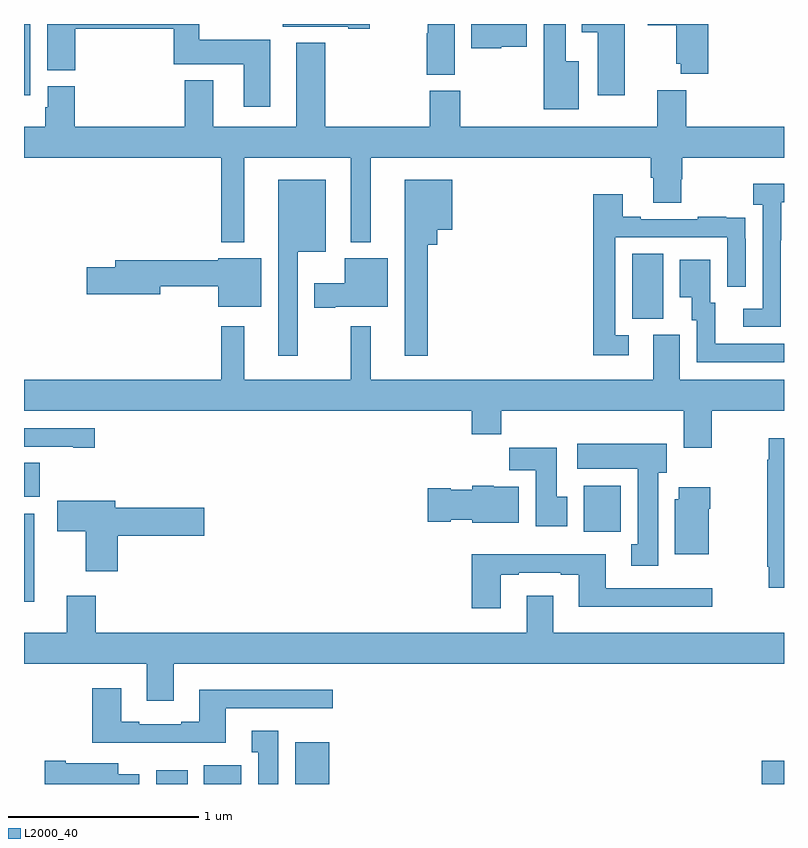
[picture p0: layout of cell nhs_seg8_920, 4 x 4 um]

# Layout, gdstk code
import gdstk
lib = gdstk.Library(unit=1e-6, precision=1e-09)
def R(c, l, rs):  # rectangles x0, y0, x1, y1
    for r in rs: c.add(gdstk.rectangle(r[:2], r[2:], *l))
def P(c, l, *ps):  # polygons
    for p in ps: c.add(gdstk.Polygon(p, *l))
L2000_40 = (2000, 40)

nhs_seg8_920 = lib.new_cell('nhs_seg8_920')
R(nhs_seg8_920, L2000_40, [(171.695,1083.9,171.862,1083.973), (171.947,1083.9,172.144,1084), (172.427,1083.9,172.606,1084.12), (174.882,1083.9,175,1084.022), (171,1084.86,171.055,1085.323), (173.945,1085.228,174.142,1085.47), (171,1085.412,171.083,1085.591), (174.2,1086.349,174.364,1086.692), (171,1087.524,171.034,1087.9)])
P(nhs_seg8_920, L2000_40, [(172.297,1087.816),(171.922,1087.816),(171.922,1087.9),(171.122,1087.9),(171.122,1087.657),(171.269,1087.657),(171.269,1087.876),(171.788,1087.876),(171.788,1087.688),(172.157,1087.688),(172.157,1087.464),(172.297,1087.464)],
  [(173.266,1087.9),(173.125,1087.9),(173.125,1087.851),(173.12,1087.851),(173.12,1087.633),(173.266,1087.633)],
  [(172.819,1087.9),(172.361,1087.9),(172.361,1087.886),(172.706,1087.886),(172.706,1087.874),(172.819,1087.874)],
  [(174.602,1087.9),(174.282,1087.9),(174.282,1087.894),(174.434,1087.894),(174.434,1087.691),(174.457,1087.691),(174.457,1087.637),(174.602,1087.637)],
  [(174.163,1087.9),(173.936,1087.9),(173.936,1087.856),(174.02,1087.856),(174.02,1087.524),(174.163,1087.524)],
  [(173.511,1087.781),(173.647,1087.781),(173.647,1087.9),(173.354,1087.9),(173.354,1087.772),(173.511,1087.772)],
  [(173.92,1087.705),(173.851,1087.705),(173.851,1087.9),(173.735,1087.9),(173.735,1087.451),(173.92,1087.451)],
  [(172.159,1087.196),(172.721,1087.196),(172.721,1086.752),(172.825,1086.752),(172.825,1087.196),(174.299,1087.196),(174.299,1087.09),(174.311,1087.09),(174.311,1086.958),(174.459,1086.958),(174.459,1087.083),(174.464,1087.083),(174.464,1087.196),(175,1087.196),(175,1087.36),(174.485,1087.36),(174.485,1087.552),(174.332,1087.552),(174.332,1087.36),(173.295,1087.36),(173.295,1087.548),(173.135,1087.548),(173.135,1087.36),(172.586,1087.36),(172.586,1087.801),(172.433,1087.801),(172.433,1087.36),(171.997,1087.36),(171.997,1087.603),(171.845,1087.603),(171.845,1087.36),(171.266,1087.36),(171.266,1087.572),(171.125,1087.572),(171.125,1087.461),(171.113,1087.461),(171.113,1087.36),(171,1087.36),(171,1087.196),(172.038,1087.196),(172.038,1086.752),(172.159,1086.752)],
  [(173.125,1086.737),(173.174,1086.737),(173.174,1086.818),(173.254,1086.818),(173.254,1087.081),(173.003,1087.081),(173.003,1086.153),(173.125,1086.153)],
  [(172.441,1086.701),(172.588,1086.701),(172.588,1087.081),(172.337,1087.081),(172.337,1086.153),(172.441,1086.153)],
  [(174.984,1086.763),(174.985,1086.763),(174.985,1086.963),(175,1086.963),(175,1087.06),(174.837,1087.06),(174.837,1086.95),(174.888,1086.95),(174.888,1086.402),(174.786,1086.402),(174.786,1086.306),(174.984,1086.306)],
  [(174.184,1086.261),(174.111,1086.261),(174.111,1086.777),(174.702,1086.777),(174.702,1086.516),(174.798,1086.516),(174.798,1086.77),(174.797,1086.77),(174.797,1086.879),(174.695,1086.879),(174.695,1086.886),(174.547,1086.886),(174.547,1086.873),(174.247,1086.873),(174.247,1086.886),(174.151,1086.886),(174.151,1087.003),(173.995,1087.003),(173.995,1086.156),(174.184,1086.156)],
  [(172.249,1086.667),(172.022,1086.667),(172.022,1086.656),(171.479,1086.656),(171.479,1086.62),(171.33,1086.62),(171.33,1086.478),(171.718,1086.478),(171.718,1086.52),(172.022,1086.52),(172.022,1086.413),(172.249,1086.413)],
  [(172.639,1086.413),(172.915,1086.413),(172.915,1086.667),(172.688,1086.667),(172.688,1086.535),(172.527,1086.535),(172.527,1086.406),(172.639,1086.406)],
  [(175,1086.216),(174.637,1086.216),(174.637,1086.432),(174.613,1086.432),(174.613,1086.658),(174.452,1086.658),(174.452,1086.461),(174.515,1086.461),(174.515,1086.342),(174.54,1086.342),(174.54,1086.12),(175,1086.12)],
  [(174.621,1085.864),(175,1085.864),(175,1086.028),(174.451,1086.028),(174.451,1086.264),(174.311,1086.264),(174.311,1086.028),(172.825,1086.028),(172.825,1086.31),(172.719,1086.31),(172.719,1086.028),(172.159,1086.028),(172.159,1086.31),(172.038,1086.31),(172.038,1086.028),(171,1086.028),(171,1085.864),(173.357,1085.864),(173.357,1085.74),(173.513,1085.74),(173.513,1085.864),(174.473,1085.864),(174.473,1085.67),(174.621,1085.67)],
  [(171.373,1085.772),(171,1085.772),(171,1085.676),(171.26,1085.676),(171.26,1085.671),(171.373,1085.671)],
  [(175,1085.719),(174.92,1085.719),(174.92,1085.606),(174.913,1085.606),(174.913,1085.044),(174.92,1085.044),(174.92,1084.932),(175,1084.932)],
  [(174.337,1085.538),(174.382,1085.538),(174.382,1085.692),(173.913,1085.692),(173.913,1085.558),(174.23,1085.558),(174.23,1085.162),(174.197,1085.162),(174.197,1085.049),(174.337,1085.049)],
  [(173.86,1085.412),(173.803,1085.412),(173.803,1085.671),(173.554,1085.671),(173.554,1085.552),(173.693,1085.552),(173.693,1085.256),(173.86,1085.256)],
  [(173.605,1085.464),(173.472,1085.464),(173.472,1085.47),(173.358,1085.47),(173.358,1085.449),(173.247,1085.449),(173.247,1085.457),(173.124,1085.457),(173.124,1085.279),(173.247,1085.279),(173.247,1085.291),(173.358,1085.291),(173.358,1085.276),(173.605,1085.276)],
  [(174.604,1085.348),(174.612,1085.348),(174.612,1085.461),(174.446,1085.461),(174.446,1085.4),(174.425,1085.4),(174.425,1085.108),(174.604,1085.108)],
  [(171.494,1085.207),(171.949,1085.207),(171.949,1085.354),(171.481,1085.354),(171.481,1085.392),(171.174,1085.392),(171.174,1085.23),(171.326,1085.23),(171.326,1085.019),(171.494,1085.019)],
  [(173.509,1085.001),(173.605,1085.001),(173.605,1085.013),(173.825,1085.013),(173.825,1085.001),(173.921,1085.001),(173.921,1084.832),(174.622,1084.832),(174.622,1084.929),(174.061,1084.929),(174.061,1085.11),(173.357,1085.11),(173.357,1084.824),(173.509,1084.824)],
  [(171.787,1084.532),(175,1084.532),(175,1084.696),(173.785,1084.696),(173.785,1084.891),(173.645,1084.891),(173.645,1084.696),(171.377,1084.696),(171.377,1084.891),(171.224,1084.891),(171.224,1084.696),(171,1084.696),(171,1084.532),(171.647,1084.532),(171.647,1084.338),(171.787,1084.338)],
  [(172.063,1084.299),(172.624,1084.299),(172.624,1084.396),(171.923,1084.396),(171.923,1084.228),(171.827,1084.228),(171.827,1084.215),(171.607,1084.215),(171.607,1084.228),(171.511,1084.228),(171.511,1084.405),(171.359,1084.405),(171.359,1084.118),(172.063,1084.118)],
  [(172.339,1084.18),(172.199,1084.18),(172.199,1084.067),(172.232,1084.067),(172.232,1083.9),(172.339,1083.9)],
  [(171.607,1083.952),(171.496,1083.952),(171.496,1084.009),(171.22,1084.009),(171.22,1084.022),(171.108,1084.022),(171.108,1083.9),(171.607,1083.9)])

lib.write_gds('nhs_seg8_920.gds')
